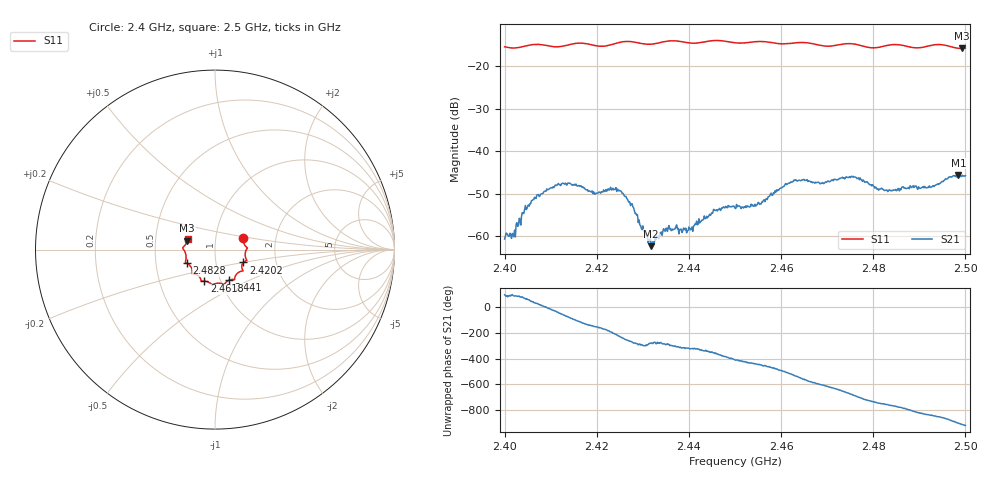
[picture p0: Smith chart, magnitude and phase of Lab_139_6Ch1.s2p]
# Hz S RI R 50
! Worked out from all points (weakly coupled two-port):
!   601 points, 2.4 GHz to 2.5 GHz, reference 50 ohm
!   highest |S21| = -45.59 dB at 2.4985 GHz (marker M1); lowest = -62.3 dB at 2.4318 GHz (marker M2)
!   lowest |S11| = -15.8 dB at 2.4992 GHz (marker M3), VSWR 1.39, Z = 36.5 + j3.7 ohm
!   |S11| at or under -10 dB: start of sweep to end of sweep
!   S12 and S22 are empty: the file has one direction only
!   S11 on the Smith chart (normalised r, x): 2.4 GHz: 1.36, +0.17; 2.4202 GHz: 1.36, -0.20; 2.441 GHz: 1.10, -0.39; 2.4618 GHz: 0.84, -0.30; 2.4828 GHz: 0.72, -0.11; 2.5 GHz: 0.73, +0.09
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2.4e9  0.1579 0.0622  -0.000128 0.000919  0 0  0 0
2.401833e9  0.159 0.0405  -1.69e-05 0.00105  0 0  0 0
2.404167e9  0.1705 0.0183  0.000557 0.00177  0 0  0 0
2.406833e9  0.1807 0.00969  0.00241 0.0014  0 0  0 0
2.4115e9  0.1678 -0.0229  0.00321 -0.00251  0 0  0 0
2.416667e9  0.1773 -0.0604  -0.00186 -0.00341  0 0  0 0
2.420167e9  0.1579 -0.0716  -0.00288 -0.0014  0 0  0 0
2.425333e9  0.1552 -0.1151  -0.00195 0.00274  0 0  0 0
2.431833e9  0.1192 -0.1376  0.000106 0.000757  0 0  0 0
2.433333e9  0.1115 -0.1511  0.000184 0.000982  0 0  0 0
2.441e9  0.0779 -0.1699  0.00109 0.000747  0 0  0 0
2.445833e9  0.0503 -0.1948  0.00202 0.000103  0 0  0 0
2.45e9  0.0279 -0.1869  0.00136 -0.00165  0 0  0 0
2.455167e9  -0.0127 -0.1954  0.000216 -0.00247  0 0  0 0
2.461833e9  -0.0598 -0.1755  -0.0039 -0.00157  0 0  0 0
2.466667e9  -0.0785 -0.1679  -0.00314 0.00307  0 0  0 0
2.475667e9  -0.1274 -0.132  0.00425 0.00277  0 0  0 0
2.482833e9  -0.1575 -0.0767  0.00273 -0.0022  0 0  0 0
2.483333e9  -0.1606 -0.0754  0.00258 -0.00231  0 0  0 0
2.4985e9  -0.1578 0.0404  -0.00524 0.00044  0 0  0 0
2.499167e9  -0.1545 0.0493  -0.00495 0.00114  0 0  0 0
2.5e9  -0.152 0.0613  -0.00478 0.00199  0 0  0 0
